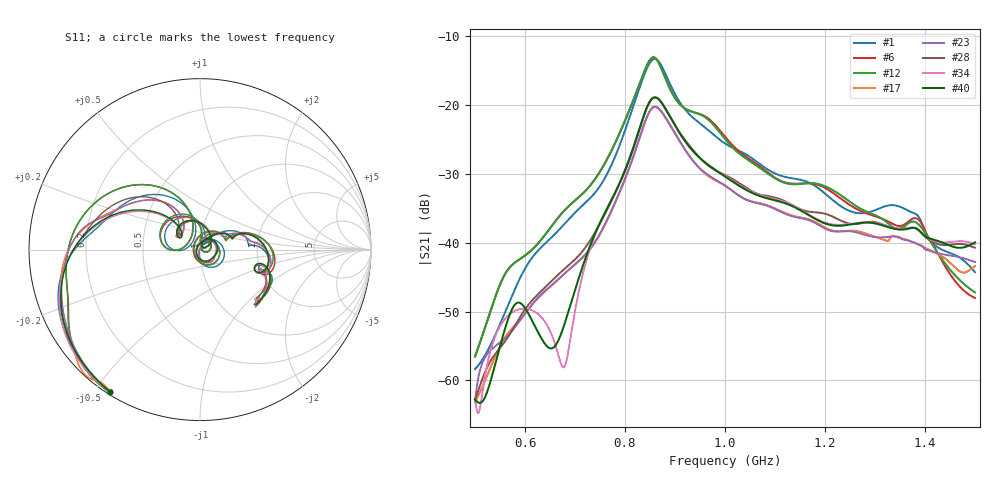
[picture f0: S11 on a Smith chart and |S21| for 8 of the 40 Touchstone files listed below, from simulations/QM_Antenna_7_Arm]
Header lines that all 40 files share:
! TOUCHSTONE file generated by CST MICROWAVE STUDIO
! Header version: 2018
! Port assignment regex: !\s*Touchstone port\s*([0-9]+)\s*=\s*(CST MWS port|CST DS port)\s*([0-9]+|Zmin|Zmax)\s*\(\"(.*)\"\)(\s*mode\s*([0-9]+))?.*
! Touchstone port assignment:
! Touchstone port 1 = CST MWS port 1 ("")
! Touchstone port 2 = CST MWS port 2 ("")
# GHz S DB R 50
Fixed: L_HA = 400, MT = 2.54, Rad_Dielectric = 30, Rad_Lower = 7.3, Rad_Upper = 30, a_HA = 580, a_WG = 246, b_HA = 500, b_WG = 121, c_HA = 0, c_WG = 187, d_feed = 85, h_feed = 15, h_lower = 18, h_upper = 40
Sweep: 500 MHz to 1.5 GHz
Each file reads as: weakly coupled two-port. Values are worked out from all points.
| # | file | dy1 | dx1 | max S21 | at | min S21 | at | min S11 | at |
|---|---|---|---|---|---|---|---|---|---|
| 1 | 19_2.s2p | -34.6 | 346 | -13.35 dB | 860 MHz | -58.3 dB | 500 MHz | -61.6 dB | 1.12 GHz |
| 2 | 19_3.s2p | -33.862 | 520 | -14.96 dB | 860 MHz | -61.0 dB | 500 MHz | -45.3 dB | 1.155 GHz |
| 3 | 19_4.s2p | -33.862 | 693 | -16.90 dB | 861 MHz | -62.0 dB | 500 MHz | -35.6 dB | 938 MHz |
| 4 | 19_5.s2p | -33.862 | 866 | -18.84 dB | 860 MHz | -62.6 dB | 500 MHz | -33.6 dB | 921 MHz |
| 5 | 19_6.s2p | -33.862 | 1039 | -20.35 dB | 859 MHz | -63.2 dB | 500 MHz | -44.8 dB | 1.131 GHz |
| 6 | 20_1.s2p | -17.3 | 173 | -13.11 dB | 857 MHz | -56.5 dB | 500 MHz | -41.1 dB | 960 MHz |
| 7 | 20_2.s2p | -17.3 | 346 | -13.38 dB | 859 MHz | -58.2 dB | 500 MHz | -38.9 dB | 951 MHz |
| 8 | 20_3.s2p | -16.521 | 520 | -15.02 dB | 860 MHz | -61.4 dB | 512 MHz | -56.3 dB | 1.155 GHz |
| 9 | 20_4.s2p | -16.521 | 693 | -16.97 dB | 859 MHz | -61.9 dB | 500 MHz | -32.2 dB | 1.139 GHz |
| 10 | 20_5.s2p | -16.521 | 866 | -18.81 dB | 861 MHz | -62.6 dB | 500 MHz | -32.3 dB | 920 MHz |
| 11 | 20_6.s2p | -16.521 | 1039 | -20.33 dB | 860 MHz | -63.1 dB | 500 MHz | -46.0 dB | 1.131 GHz |
| 12 | 21_1.s2p | 0 | 173 | -13.11 dB | 857 MHz | -56.5 dB | 500 MHz | -40.3 dB | 959 MHz |
| 13 | 21_2.s2p | 0 | 346 | -13.48 dB | 859 MHz | -58.2 dB | 500 MHz | -38.6 dB | 1.12 GHz |
| 14 | 21_3.s2p | 0.82 | 520 | -15.05 dB | 860 MHz | -60.9 dB | 500 MHz | -47.3 dB | 1.153 GHz |
| 15 | 21_4.s2p | 0.82 | 693 | -16.94 dB | 861 MHz | -62.0 dB | 500 MHz | -31.4 dB | 938 MHz |
| 16 | 21_5.s2p | 0.82 | 866 | -18.80 dB | 861 MHz | -62.6 dB | 500 MHz | -34.4 dB | 929 MHz |
| 17 | 21_6.s2p | 0.82 | 1039 | -20.34 dB | 860 MHz | -63.1 dB | 500 MHz | -47.5 dB | 1.131 GHz |
| 18 | 22_1.s2p | 17.3 | 173 | -13.26 dB | 857 MHz | -56.6 dB | 500 MHz | -36.4 dB | 957 MHz |
| 19 | 22_2.s2p | 17.3 | 346 | -13.62 dB | 859 MHz | -58.2 dB | 500 MHz | -43.6 dB | 1.12 GHz |
| 20 | 22_3.s2p | 18.161 | 520 | -15.14 dB | 860 MHz | -61.0 dB | 500 MHz | -43.4 dB | 1.152 GHz |
| 21 | 22_4.s2p | 18.161 | 693 | -17.05 dB | 860 MHz | -62.0 dB | 500 MHz | -33.5 dB | 937 MHz |
| 22 | 22_5.s2p | 18.161 | 866 | -18.85 dB | 861 MHz | -62.6 dB | 500 MHz | -34.8 dB | 927 MHz |
| 23 | 22_6.s2p | 18.161 | 1039 | -20.27 dB | 860 MHz | -63.2 dB | 500 MHz | -50.7 dB | 1.132 GHz |
| 24 | 23_1.s2p | 34.6 | 173 | -13.53 dB | 856 MHz | -56.7 dB | 500 MHz | -33.4 dB | 956 MHz |
| 25 | 23_2.s2p | 34.6 | 346 | -13.79 dB | 860 MHz | -58.2 dB | 500 MHz | -49.1 dB | 1.121 GHz |
| 26 | 23_3.s2p | 35.502 | 520 | -15.33 dB | 860 MHz | -61.0 dB | 500 MHz | -43.1 dB | 1.148 GHz |
| 27 | 23_4.s2p | 35.502 | 693 | -17.16 dB | 860 MHz | -62.0 dB | 500 MHz | -35.4 dB | 935 MHz |
| 28 | 23_5.s2p | 35.502 | 866 | -18.93 dB | 860 MHz | -62.8 dB | 500 MHz | -34.9 dB | 928 MHz |
| 29 | 23_6.s2p | 35.502 | 1039 | -20.22 dB | 860 MHz | -63.2 dB | 500 MHz | -53.2 dB | 1.134 GHz |
| 30 | 24_1.s2p | 51.9 | 173 | -13.94 dB | 857 MHz | -56.8 dB | 500 MHz | -32.0 dB | 954 MHz |
| 31 | 24_2.s2p | 51.9 | 346 | -14.07 dB | 859 MHz | -58.2 dB | 500 MHz | -59.0 dB | 1.121 GHz |
| 32 | 24_3.s2p | 52.843 | 520 | -15.51 dB | 860 MHz | -61.0 dB | 500 MHz | -39.7 dB | 1.15 GHz |
| 33 | 24_4.s2p | 52.843 | 693 | -17.27 dB | 860 MHz | -62.0 dB | 500 MHz | -35.1 dB | 934 MHz |
| 34 | 24_5.s2p | 52.843 | 866 | -18.91 dB | 859 MHz | -64.7 dB | 506 MHz | -33.9 dB | 1.132 GHz |
| 35 | 24_6.s2p | 52.843 | 1039 | -20.16 dB | 860 MHz | -63.2 dB | 500 MHz | -53.9 dB | 1.134 GHz |
| 36 | 25_1.s2p | 69.2 | 173 | -14.47 dB | 857 MHz | -57.0 dB | 500 MHz | -33.3 dB | 1.129 GHz |
| 37 | 25_2.s2p | 69.2 | 346 | -14.38 dB | 859 MHz | -58.3 dB | 500 MHz | -45.2 dB | 1.121 GHz |
| 38 | 25_3.s2p | 70.184 | 520 | -15.72 dB | 859 MHz | -61.1 dB | 500 MHz | -38.4 dB | 1.148 GHz |
| 39 | 25_4.s2p | 70.184 | 693 | -17.44 dB | 860 MHz | -62.0 dB | 500 MHz | -34.4 dB | 932 MHz |
| 40 | 25_5.s2p | 70.184 | 866 | -18.94 dB | 860 MHz | -63.3 dB | 509 MHz | -34.6 dB | 1.132 GHz |
